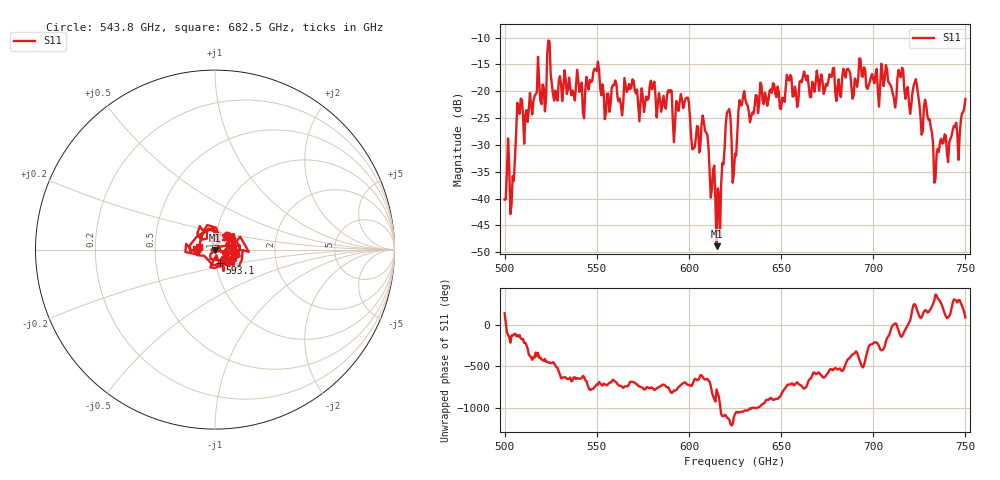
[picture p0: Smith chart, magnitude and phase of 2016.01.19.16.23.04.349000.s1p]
!Created with skrf (http://scikit-rf.org).
# GHz S RI R 50.0
!freq ReS11 ImS11
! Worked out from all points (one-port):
!   401 points, 500 GHz to 750 GHz, reference 50 ohm
!   lowest |S11| = -48.9 dB at 615 GHz (marker M1), VSWR 1.01, Z = 50.2 - j0.32 ohm
!   |S11| at or under -10 dB: start of sweep to end of sweep
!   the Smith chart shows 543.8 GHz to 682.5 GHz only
!   S11 on the Smith chart (normalised r, x): 543.8 GHz: 1.12, +0.18; 593.1 GHz: 1.04, -0.16; 682.5 GHz: 0.84, +0.03
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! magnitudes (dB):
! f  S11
! 500 GHz  -40.2
! 504.4 GHz  -35.8
! 508.1 GHz  -24.2
! 521.2 GHz  -19.3
! 524.4 GHz  -10.7
! 527.5 GHz  -19.9
! 531.2 GHz  -21.8
! 543.8 GHz  -19.9
! 550 GHz  -16.2
! 562.5 GHz  -21.3
! 580 GHz  -19.6
! 593.1 GHz  -21.8
! 593.8 GHz  -22.4
! 598.8 GHz  -21.2
! 602.5 GHz  -30.7
! 608.8 GHz  -27.4
! 615 GHz  -48.9
! 616.2 GHz  -39.0
! 621.2 GHz  -23.6
! 625 GHz  -31.6
! 628.8 GHz  -22.6
! 656.2 GHz  -21.0
! 682.5 GHz  -21.1
! 687.5 GHz  -16.6
! 718.8 GHz  -19.2
! 723.1 GHz  -17.7
! 734.4 GHz  -31.8
! 750 GHz  -21.4
